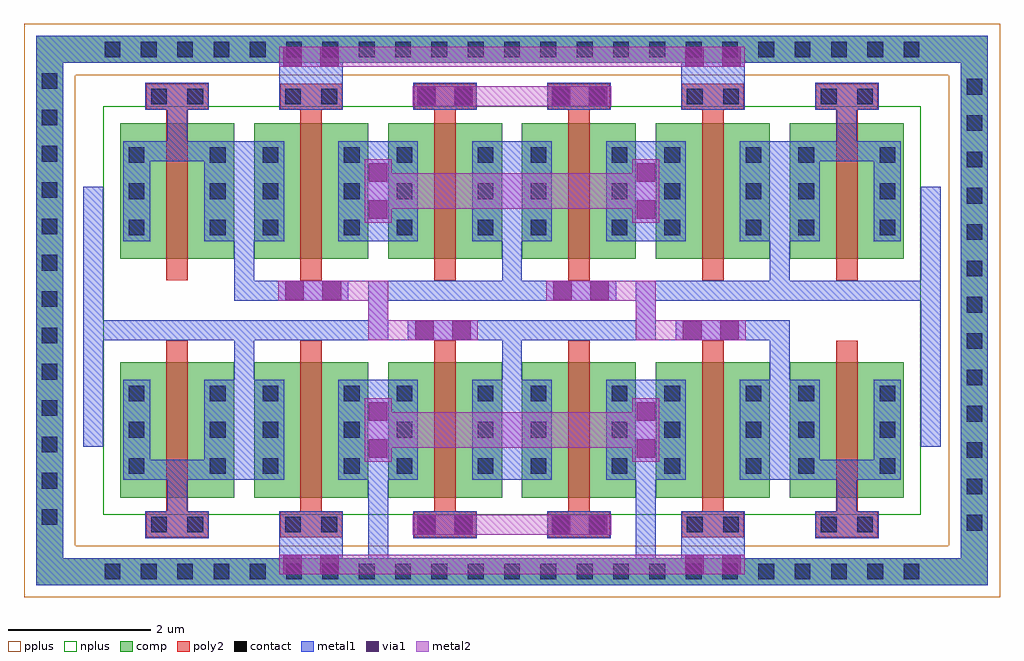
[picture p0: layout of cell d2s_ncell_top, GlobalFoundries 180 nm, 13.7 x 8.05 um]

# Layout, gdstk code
import gdstk
lib = gdstk.Library(unit=1e-6, precision=5e-09)
def R(c, l, rs):  # rectangles x0, y0, x1, y1
    for r in rs: c.add(gdstk.rectangle(r[:2], r[2:], *l))
def A(c, l, x, y, w, h, nx, ny, dx, dy):  # array of equal rectangles
    R(c, l, [(x+i*dx, y+j*dy, x+i*dx+w, y+j*dy+h) for i in range(nx) for j in range(ny)])
comp = (22, 0)
poly2 = (30, 0)
pplus = (31, 0)
nplus = (32, 0)
contact = (33, 0)
metal1 = (34, 0)
via1 = (35, 0)
metal2 = (36, 0)

d2s_ncell_1_1 = lib.new_cell('d2s_ncell_1$1')
R(d2s_ncell_1_1, comp, [(0,0.3,0.46,2.2), (0.46,0.3,1.14,2.2), (1.14,0.3,1.6,2.2)])
R(d2s_ncell_1_1, poly2, [(0.65,0,0.95,2.5)])
A(d2s_ncell_1_1, contact, 0.12, 0.63, 0.22, 0.22, 1, 3, 0, 0.51)
A(d2s_ncell_1_1, contact, 1.26, 0.63, 0.22, 0.22, 1, 3, 0, 0.51)
R(d2s_ncell_1_1, metal1, [(0.04,0.55,0.42,1.95), (1.18,0.55,1.56,1.95)])

d2s_ncell_4 = lib.new_cell('d2s_ncell_4')
A(d2s_ncell_4, poly2, 0.365, 2.4, 0.87, 0.36, 6, 1, 1.88, 0)
R(d2s_ncell_4, contact, [(0.435,2.47,0.655,2.69), (0.945,2.47,1.165,2.69), (2.315,2.47,2.535,2.69), (2.825,2.47,3.045,2.69), (4.195,2.47,4.415,2.69), (4.705,2.47,4.925,2.69), (6.075,2.47,6.295,2.69), (6.585,2.47,6.805,2.69), (7.955,2.47,8.175,2.69), (8.465,2.47,8.685,2.69), (9.835,2.47,10.055,2.69), (10.345,2.47,10.565,2.69)])
A(d2s_ncell_4, metal1, 1.56, 0.55, 0.36, 1.4, 5, 1, 1.88, 0)
R(d2s_ncell_4, metal1, [(0.355,2.39,1.245,2.77), (2.235,2.39,3.125,3.28), (4.115,2.39,5.005,2.77), (5.995,2.39,6.885,2.77), (7.875,2.39,8.765,3.28), (9.755,2.39,10.645,2.77)])
R(d2s_ncell_4, via1, [(3.49,0.86,3.75,1.12), (7.25,0.86,7.51,1.12), (3.49,1.38,3.75,1.64), (7.25,1.38,7.51,1.64), (4.17,2.45,4.43,2.71), (4.69,2.45,4.95,2.71), (6.055,2.45,6.315,2.71), (6.575,2.45,6.835,2.71), (2.29,3.01,2.55,3.27), (2.81,3.01,3.07,3.27), (7.93,3.01,8.19,3.27), (8.45,3.01,8.71,3.27)])
R(d2s_ncell_4, metal2, [(3.43,0.805,3.81,1.695), (7.19,0.805,7.57,1.695)])
d2s_ncell_4.add(gdstk.FlexPath([(9.82,1.81),(10.58,1.81)], 0.28, ends="flush", simple_path=True, layer=34, datatype=0))  # metal1
d2s_ncell_4.add(gdstk.FlexPath([(10.2,2.39),(10.2,1.95)], 0.28, ends="flush", simple_path=True, layer=34, datatype=0))  # metal1
d2s_ncell_4.add(gdstk.FlexPath([(0.8,2.39),(0.8,1.95)], 0.28, ends="flush", simple_path=True, layer=34, datatype=0))  # metal1
d2s_ncell_4.add(gdstk.FlexPath([(0.42,1.81),(1.18,1.81)], 0.28, ends="flush", simple_path=True, layer=34, datatype=0))  # metal1
d2s_ncell_4.add(gdstk.FlexPath([(3.81,1.25),(7.19,1.25)], 0.5, ends="flush", simple_path=True, layer=36, datatype=0))  # metal2
d2s_ncell_4.add(gdstk.FlexPath([(6.89,2.58),(4.11,2.58)], 0.28, ends="flush", simple_path=True, layer=36, datatype=0))  # metal2
d2s_ncell_4.add(gdstk.FlexPath([(8.77,3.14),(2.23,3.14)], 0.28, ends="flush", simple_path=True, layer=36, datatype=0))  # metal2
d2s_ncell_4.add(gdstk.Reference(d2s_ncell_1_1, (0,0)))
d2s_ncell_4.add(gdstk.Reference(d2s_ncell_1_1, (1.88,0)))
d2s_ncell_4.add(gdstk.Reference(d2s_ncell_1_1, (3.76,0)))
d2s_ncell_4.add(gdstk.Reference(d2s_ncell_1_1, (5.64,0)))
d2s_ncell_4.add(gdstk.Reference(d2s_ncell_1_1, (7.52,0)))
d2s_ncell_4.add(gdstk.Reference(d2s_ncell_1_1, (9.4,0)))

d2s_ncell_top = lib.new_cell('d2s_ncell_top')
R(d2s_ncell_top, nplus, [(1.11,1.16,12.59,6.89)])
A(d2s_ncell_top, contact, 1.13, 0.25, 0.22, 0.22, 23, 2, 0.51, 7.33)
A(d2s_ncell_top, contact, 13.23, 0.935, 0.22, 0.22, 1, 13, 0, 0.51)
A(d2s_ncell_top, contact, 0.25, 1.015, 0.22, 0.22, 1, 13, 0, 0.51)
R(d2s_ncell_top, via1, [(5.49,3.615,5.75,3.875), (6.01,3.615,6.27,3.875), (9.25,3.615,9.51,3.875), (9.77,3.615,10.03,3.875), (3.67,4.175,3.93,4.435), (4.19,4.175,4.45,4.435), (7.43,4.175,7.69,4.435), (7.95,4.175,8.21,4.435)])
d2s_ncell_top.add(gdstk.FlexPath([(13.34,7.88),(13.34,0.36),(0.36,0.36),(0.36,7.69),(13.53,7.69)], 0.38, ends="flush", simple_path=True, layer=34, datatype=0))  # metal1
d2s_ncell_top.add(gdstk.FlexPath([(10.61,5),(10.61,4.445)], 0.28, ends="flush", simple_path=True, layer=34, datatype=0))  # metal1
d2s_ncell_top.add(gdstk.FlexPath([(6.85,5),(6.85,4.445)], 0.28, ends="flush", simple_path=True, layer=34, datatype=0))  # metal1
d2s_ncell_top.add(gdstk.FlexPath([(3.09,5),(3.09,4.445)], 0.28, ends="flush", simple_path=True, layer=34, datatype=0))  # metal1
d2s_ncell_top.add(gdstk.FlexPath([(6.37,4.305),(4.97,4.305),(4.97,3.745),(3.57,3.745)], 0.28, ends="flush", simple_path=True, layer=34, datatype=0))  # metal1
d2s_ncell_top.add(gdstk.FlexPath([(4.55,4.305),(3.57,4.305)], 0.28, ends="flush", simple_path=True, layer=34, datatype=0))  # metal1
d2s_ncell_top.add(gdstk.FlexPath([(6.37,3.745),(5.39,3.745)], 0.28, ends="flush", simple_path=True, layer=34, datatype=0))  # metal1
d2s_ncell_top.add(gdstk.FlexPath([(6.37,4.305),(7.33,4.305)], 0.28, ends="flush", simple_path=True, layer=34, datatype=0))  # metal1
d2s_ncell_top.add(gdstk.FlexPath([(6.37,3.745),(7.33,3.745)], 0.28, ends="flush", simple_path=True, layer=34, datatype=0))  # metal1
d2s_ncell_top.add(gdstk.FlexPath([(3.57,4.305),(2.95,4.305)], 0.28, ends="flush", simple_path=True, layer=34, datatype=0))  # metal1
d2s_ncell_top.add(gdstk.FlexPath([(3.57,3.745),(2.95,3.745)], 0.28, ends="flush", simple_path=True, layer=34, datatype=0))  # metal1
d2s_ncell_top.add(gdstk.FlexPath([(6.85,5),(6.85,4.445)], 0.28, ends="flush", simple_path=True, layer=34, datatype=0))  # metal1
d2s_ncell_top.add(gdstk.FlexPath([(10.13,4.305),(8.73,4.305),(8.73,3.745),(7.33,3.745)], 0.28, ends="flush", simple_path=True, layer=34, datatype=0))  # metal1
d2s_ncell_top.add(gdstk.FlexPath([(8.31,4.305),(7.33,4.305)], 0.28, ends="flush", simple_path=True, layer=34, datatype=0))  # metal1
d2s_ncell_top.add(gdstk.FlexPath([(10.13,3.745),(9.15,3.745)], 0.28, ends="flush", simple_path=True, layer=34, datatype=0))  # metal1
d2s_ncell_top.add(gdstk.FlexPath([(10.75,4.305),(10.13,4.305)], 0.28, ends="flush", simple_path=True, layer=34, datatype=0))  # metal1
d2s_ncell_top.add(gdstk.FlexPath([(10.75,3.745),(10.13,3.745)], 0.28, ends="flush", simple_path=True, layer=34, datatype=0))  # metal1
d2s_ncell_top.add(gdstk.FlexPath([(10.61,3.605),(10.61,3.05)], 0.28, ends="flush", simple_path=True, layer=34, datatype=0))  # metal1
d2s_ncell_top.add(gdstk.FlexPath([(6.85,3.605),(6.85,3.05)], 0.28, ends="flush", simple_path=True, layer=34, datatype=0))  # metal1
d2s_ncell_top.add(gdstk.FlexPath([(3.09,3.605),(3.09,3.05)], 0.28, ends="flush", simple_path=True, layer=34, datatype=0))  # metal1
d2s_ncell_top.add(gdstk.FlexPath([(6.85,3.605),(6.85,3.05)], 0.28, ends="flush", simple_path=True, layer=34, datatype=0))  # metal1
d2s_ncell_top.add(gdstk.FlexPath([(10.75,4.305),(12.59,4.305)], 0.28, ends="flush", simple_path=True, layer=34, datatype=0))  # metal1
d2s_ncell_top.add(gdstk.FlexPath([(1.11,3.745),(2.95,3.745)], 0.28, ends="flush", simple_path=True, layer=34, datatype=0))  # metal1
d2s_ncell_top.add(gdstk.FlexPath([(12.73,5.76),(12.73,2.11)], 0.28, ends="flush", simple_path=True, layer=34, datatype=0))  # metal1
d2s_ncell_top.add(gdstk.FlexPath([(0.97,5.76),(0.97,2.11)], 0.28, ends="flush", simple_path=True, layer=34, datatype=0))  # metal1
d2s_ncell_top.add(gdstk.FlexPath([(8.73,0.55),(8.73,1.65)], 0.28, ends="flush", simple_path=True, layer=34, datatype=0))  # metal1
d2s_ncell_top.add(gdstk.FlexPath([(4.97,0.55),(4.97,1.65)], 0.28, ends="flush", simple_path=True, layer=34, datatype=0))  # metal1
d2s_ncell_top.add(gdstk.FlexPath([(13.29,5.76),(13.29,2.11)], 0.28, ends="flush", simple_path=True, layer=34, datatype=0))  # metal1
d2s_ncell_top.add(gdstk.FlexPath([(13.34,7.88),(13.34,0.36),(0.36,0.36),(0.36,7.69),(13.53,7.69)], 0.38, ends="flush", simple_path=True, layer=22, datatype=0))  # comp
d2s_ncell_top.add(gdstk.FlexPath([(10.13,3.745),(8.73,3.745),(8.73,4.305),(7.33,4.305)], 0.28, ends="flush", simple_path=True, layer=36, datatype=0))  # metal2
d2s_ncell_top.add(gdstk.FlexPath([(6.37,3.745),(4.97,3.745),(4.97,4.305),(3.57,4.305)], 0.28, ends="flush", simple_path=True, layer=36, datatype=0))  # metal2
d2s_ncell_top.add(gdstk.FlexPath([(13.34,8.05),(13.34,0.36),(0.36,0.36),(0.36,7.69),(13.7,7.69)], 0.72, ends="flush", simple_path=True, layer=31, datatype=0))  # pplus
d2s_ncell_top.add(gdstk.Reference(d2s_ncell_4, (1.35,4.45)))
d2s_ncell_top.add(gdstk.Reference(d2s_ncell_4, (1.35,3.6), x_reflection=True))

lib.write_gds('d2s_ncell_top.gds')
